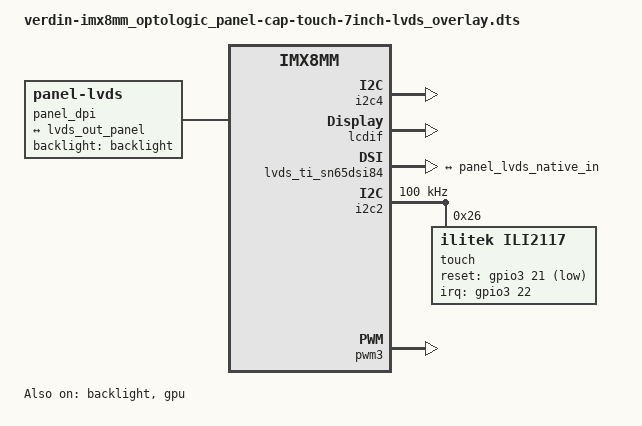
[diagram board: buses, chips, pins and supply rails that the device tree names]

// SPDX-License-Identifier: GPL-2.0-or-later OR MIT
/*
 * Copyright © 2025 OPTO logic Tenchnology S.A.
 * Author: Enguerrand de Ribaucourt <enguerrand.de.ribaucourt@savoirfairelinux.com>
 */

// Verdin iMX8M Mini single-channel LVDS
// Extends verdin-imx8mm_dsi-to-lvds_panel-cap-touch-10inch-lvds_overlay.dts
// And verdin-imx8mm_panel-cap-touch-10inch-dsi_overlay.dts for the touchscreen example

/dts-v1/;
/plugin/;

#include <dt-bindings/gpio/gpio.h>
#include <dt-bindings/interrupt-controller/irq.h>
#include <dt-bindings/pwm/pwm.h>
#include "imx8mm-pinfunc.h"

/ {
	compatible = "toradex,verdin-imx8mm";
};

#include "verdin-imx8_mipi-dsi-to-sn65dsi84.dtsi"

&backlight {
	status = "okay";
	/* Verdin PWM_3 (SODIMM 16) */
	pwms = <&pwm3 0 6666667 0>;
};

&gpu {
	status = "okay";
};

/* Verdin I2C_1 */
&i2c4 {
	status = "okay";
};

&lcdif {
	status = "okay";
};

&{/} {
	panel_dpi: panel_dpi { /*name to keep the compatibilty with colibri panel*/
		compatible = "panel-lvds";
		backlight = <&backlight>;
		data-mapping = "vesa-24";
		port {
			panel_lvds_native_in: endpoint {
				remote-endpoint = <&lvds_out_panel>;
			};
		};
	};
};

&lvds_ti_sn65dsi84 {
	status = "okay";

	ports {
		#address-cells = <1>;
		#size-cells = <0>;

		port@2 {
			reg = <2>;

			lvds_out_panel: endpoint {
				remote-endpoint = <&panel_lvds_native_in>;
			};
		};
	};
};

/* Verdin I2C_2_DSI */
&i2c2 {
	#address-cells = <1>;
	#size-cells = <0>;
	status = "okay";
	clock-frequency = <100000>;
	touch@26 {
		compatible = "ilitek,ili2117";
		reg = <0x26>;
		pinctrl-names = "default";
		pinctrl-0 = <&pinctrl_i2s_2_d_in_gpio &pinctrl_i2s_2_sync_gpio>;
		interrupt-parent = <&gpio3>;
		interrupts = <22 IRQ_TYPE_EDGE_RISING>;
		reset-gpios = <&gpio3 21 GPIO_ACTIVE_LOW>;
        status = "okay";
	};
};

&reg_dsi_lvds {
	/* Verdin CTRL_SLEEP_MOCI# (SODIMM 256) */
	gpio = <&gpio5 1 GPIO_ACTIVE_HIGH>;
};

&iomuxc {
	pinctrl_i2s_2_d_in_gpio: gpio3io21grp {
		fsl,pins =
			<MX8MM_IOMUXC_SAI5_RXD0_GPIO3_IO21 0x1c4>;	/* SODIMM 48 */
	};

	pinctrl_i2s_2_sync_gpio: gpio3io22grp {
		fsl,pins =
			<MX8MM_IOMUXC_SAI5_RXD1_GPIO3_IO22 0x184>;	/* SODIMM 44 */
	};
};

/* Verdin PWM_2 SODIMM 16 */
&pwm3 {
	status = "okay";
};

#include "display-scx7.dtsi"
